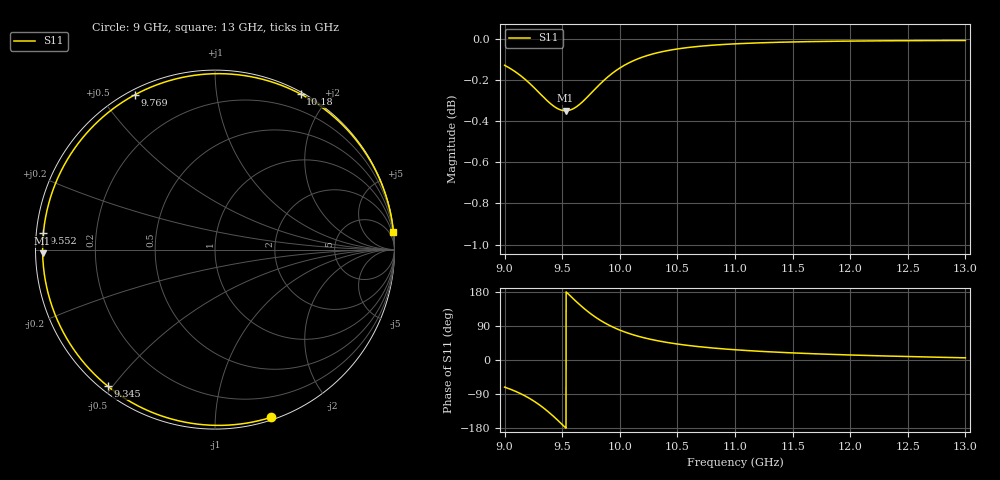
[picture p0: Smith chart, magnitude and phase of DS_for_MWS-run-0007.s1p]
! TOUCHSTONE file generated by CST DESIGN STUDIO
! Date and time: Tue Feb  4 17:46:20 2025
! Project name: C:\Work\MatlabApps\UnitCellOptimizationMatlab\CST\unitcell.cst
! Tree item: Tasks\Sweep1\SPara1\S-Parameters
! Header version: 2024
! Port assignment regex: !\s*Touchstone port\s*([0-9]+)\s*=\s*(CST MWS port|CST DES external port|CST DES block port)\s*(.+)\s* \(\"(.*)\"\)(\s*mode\s*([0-9]+))?.*
! Touchstone port assignment:
! Touchstone port 1 = CST DES external port 1 ("")
# GHz S MA R 50
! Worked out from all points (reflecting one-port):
!   4001 points, 9 GHz to 13 GHz, reference 50 ohm
!   lowest |S11| = -0.3 dB at 9.529 GHz (marker M1), VSWR 49.67, Z = 1.01 - j0.532 ohm
!   phase of S11 starts at -72 deg and turns -283 deg over the sweep
!   S11 on the Smith chart (normalised r, x): 9 GHz: 0.02, -1.39; 9.345 GHz: 0.02, -0.49; 9.552 GHz: 0.02, +0.05; 9.769 GHz: 0.02, +0.61; 10.18 GHz: 0.02, +1.69; 13 GHz: 0, +20
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9  0.9853 -71.5
9.096  0.9816 -82.8
9.203  0.9762 -99.0
9.277  0.9717 -113.0
9.345  0.9674 -128.2
9.418  0.9634 -146.9
9.461  0.9616 -158.9
9.5  0.9607 -170.2
9.529  0.9605 -178.8
9.552  0.9607 174.4
9.606  0.962 158.7
9.667  0.9648 141.9
9.718  0.9679 129.0
9.769  0.9712 117.3
9.818  0.9743 107.2
9.871  0.9775 97.6
9.93  0.9806 88.3
10  0.9838 78.9
10.085  0.9868 69.5
10.178  0.9894 61.1
10.325  0.9922 51.0
10.5  0.9943 42.1
10.721  0.996 34.1
11  0.9972 27.0
11.5  0.9982 18.7
12  0.9987 13.2
12.5  0.999 9.1
13  0.9991 5.8
